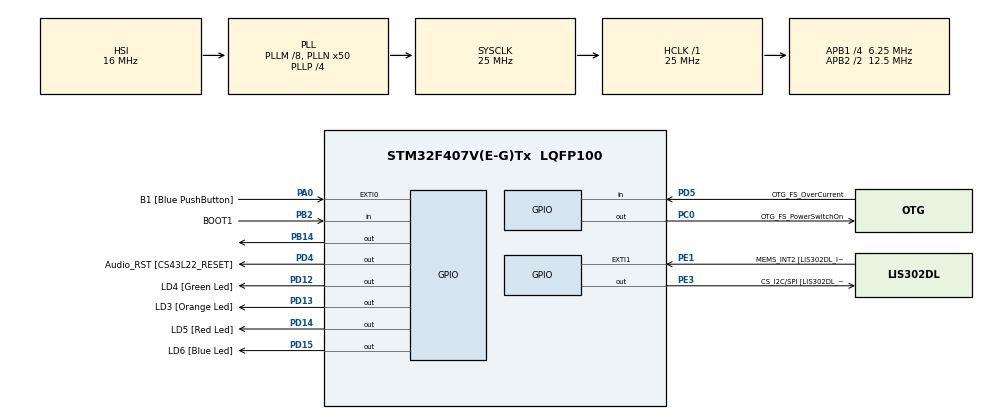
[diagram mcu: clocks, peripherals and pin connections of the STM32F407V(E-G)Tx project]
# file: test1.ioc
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Mcu.Family=STM32F4
Mcu.Name=STM32F407V(E-G)Tx
Mcu.Package=LQFP100
NVIC.PriorityGroup=NVIC_PRIORITYGROUP_0
PA0-WKUP.GPIO_Label=B1 [Blue PushButton]
PA0-WKUP.Signal=GPXTI0
PA10.GPIO_Label=OTG_FS_ID
PA10.GPIO_Mode=GPIO_MODE_AF_PP
PA10.GPIO_PuPd=GPIO_NOPULL
PA10.GPIO_Speed=GPIO_SPEED_FREQ_LOW
PA10.Signal=USB_OTG_FS_ID
PA11.GPIO_Label=OTG_FS_DM
PA11.GPIO_Mode=GPIO_MODE_AF_PP
PA11.GPIO_PuPd=GPIO_NOPULL
PA11.GPIO_Speed=GPIO_SPEED_FREQ_LOW
PA11.Signal=USB_OTG_FS_DM
PA12.GPIO_Label=OTG_FS_DP
PA12.GPIO_Mode=GPIO_MODE_AF_PP
PA12.GPIO_PuPd=GPIO_NOPULL
PA12.GPIO_Speed=GPIO_SPEED_FREQ_LOW
PA12.Signal=USB_OTG_FS_DP
PA13.GPIO_Label=SWDIO
PA13.Signal=SYS_JTMS-SWDIO
PA14.GPIO_Label=SWCLK
PA14.Signal=SYS_JTCK-SWCLK
PA4.GPIO_Label=I2S3_WS [CS43L22_LRCK]
PA4.GPIO_Mode=GPIO_MODE_AF_PP
PA4.GPIO_PuPd=GPIO_NOPULL
PA4.GPIO_Speed=GPIO_SPEED_FREQ_LOW
PA4.Signal=I2S3_WS
PA5.GPIO_Label=SPI1_SCK [LIS302DL_SCL/SPC]
PA5.GPIO_Mode=GPIO_MODE_AF_PP
PA5.GPIO_PuPd=GPIO_NOPULL
PA5.GPIO_Speed=GPIO_SPEED_FREQ_LOW
PA5.Signal=SPI1_SCK
PA6.GPIO_Label=SPI1_MISO [LIS302DL_SDO]
PA6.GPIO_Mode=GPIO_MODE_AF_PP
PA6.GPIO_PuPd=GPIO_NOPULL
PA6.GPIO_Speed=GPIO_SPEED_FREQ_LOW
PA6.Signal=SPI1_MISO
PA7.GPIO_Label=SPI1_MOSI [LIS302DL_SDA/SDI/SDO]
PA7.GPIO_Mode=GPIO_MODE_AF_PP
PA7.GPIO_PuPd=GPIO_NOPULL
PA7.GPIO_Speed=GPIO_SPEED_FREQ_LOW
PA7.Signal=SPI1_MOSI
PA9.GPIO_Label=VBUS_FS
PA9.GPIO_Mode=GPIO_MODE_INPUT
PA9.GPIO_PuPd=GPIO_NOPULL
PA9.Signal=USB_OTG_FS_VBUS
PB10.GPIO_Label=CLK_IN [MP45DT02_CLK]
PB10.GPIO_Mode=GPIO_MODE_AF_PP
PB10.GPIO_PuPd=GPIO_NOPULL
PB10.GPIO_Speed=GPIO_SPEED_FREQ_LOW
PB10.Signal=I2S2_CK
PB14.Signal=GPIO_Output
PB2.GPIO_Label=BOOT1
PB2.GPIO_Mode=GPIO_MODE_INPUT
PB2.GPIO_PuPd=GPIO_NOPULL
PB2.Signal=GPIO_Input
PB3.GPIO_Label=SWO
PB3.Signal=SYS_JTDO-SWO
PB6.GPIO_Label=Audio_SCL [CS43L22_SCL]
PB6.GPIO_Mode=GPIO_MODE_AF_OD
PB6.GPIO_PuPd=GPIO_NOPULL
PB6.GPIO_Speed=GPIO_SPEED_FREQ_LOW
PB6.Signal=I2C1_SCL
PB9.GPIO_Label=Audio_SDA [CS43L22_SDA]
PB9.GPIO_Mode=GPIO_MODE_AF_OD
PB9.GPIO_PuPd=GPIO_NOPULL
PB9.GPIO_Speed=GPIO_SPEED_FREQ_LOW
PB9.Signal=I2C1_SDA
PC0.GPIO_Label=OTG_FS_PowerSwitchOn
PC0.GPIO_PuPd=GPIO_NOPULL
PC0.GPIO_Speed=GPIO_SPEED_FREQ_LOW
PC0.PinState=GPIO_PIN_SET
PC0.Signal=GPIO_Output
PC10.GPIO_Label=I2S3_SCK [CS43L22_SCLK]
PC10.GPIO_Mode=GPIO_MODE_AF_PP
PC10.GPIO_PuPd=GPIO_NOPULL
PC10.GPIO_Speed=GPIO_SPEED_FREQ_LOW
PC10.Signal=I2S3_CK
PC12.GPIO_Label=I2S3_SD [CS43L22_SDIN]
PC12.GPIO_Mode=GPIO_MODE_AF_PP
PC12.GPIO_PuPd=GPIO_NOPULL
PC12.GPIO_Speed=GPIO_SPEED_FREQ_LOW
PC12.Signal=I2S3_SD
PC14-OSC32_IN.GPIO_Label=PC14-OSC32_IN
PC14-OSC32_IN.Signal=RCC_OSC32_IN
PC15-OSC32_OUT.GPIO_Label=PC15-OSC32_OUT
PC15-OSC32_OUT.Signal=RCC_OSC32_OUT
PC3.GPIO_Label=PDM_OUT [MP45DT02_DOUT]
PC3.GPIO_Mode=GPIO_MODE_AF_PP
PC3.GPIO_PuPd=GPIO_NOPULL
PC3.GPIO_Speed=GPIO_SPEED_FREQ_LOW
PC3.Signal=I2S2_SD
PC7.GPIO_Label=I2S3_MCK [CS43L22_MCLK]
PC7.GPIO_Mode=GPIO_MODE_AF_PP
PC7.GPIO_PuPd=GPIO_NOPULL
PC7.GPIO_Speed=GPIO_SPEED_FREQ_LOW
PC7.Signal=I2S3_MCK
PD12.GPIO_Label=LD4 [Green Led]
PD12.GPIO_PuPd=GPIO_NOPULL
PD12.GPIO_Speed=GPIO_SPEED_FREQ_LOW
PD12.Signal=GPIO_Output
PD13.GPIO_Label=LD3 [Orange Led]
PD13.GPIO_PuPd=GPIO_NOPULL
PD13.GPIO_Speed=GPIO_SPEED_FREQ_LOW
PD13.Signal=GPIO_Output
PD14.GPIO_Label=LD5 [Red Led]
PD14.GPIO_PuPd=GPIO_NOPULL
PD14.GPIO_Speed=GPIO_SPEED_FREQ_LOW
PD14.Signal=GPIO_Output
PD15.GPIO_Label=LD6 [Blue Led]
PD15.GPIO_PuPd=GPIO_NOPULL
PD15.GPIO_Speed=GPIO_SPEED_FREQ_LOW
PD15.Signal=GPIO_Output
PD4.GPIO_Label=Audio_RST [CS43L22_RESET]
PD4.GPIO_PuPd=GPIO_NOPULL
PD4.GPIO_Speed=GPIO_SPEED_FREQ_LOW
PD4.Signal=GPIO_Output
PD5.GPIO_Label=OTG_FS_OverCurrent
PD5.GPIO_Mode=GPIO_MODE_INPUT
PD5.GPIO_PuPd=GPIO_NOPULL
PD5.Signal=GPIO_Input
PE1.GPIO_Label=MEMS_INT2 [LIS302DL_INT2]
PE1.GPIO_ModeDefaultEXTI=GPIO_MODE_EVT_RISING
PE1.GPIO_PuPd=GPIO_NOPULL
PE1.Signal=GPXTI1
PE3.GPIO_Label=CS_I2C/SPI [LIS302DL_CS_I2C/SPI]
PE3.GPIO_PuPd=GPIO_NOPULL
PE3.GPIO_Speed=GPIO_SPEED_FREQ_LOW
PE3.Signal=GPIO_Output
PH0-OSC_IN.GPIO_Label=PH0-OSC_IN
PH0-OSC_IN.Signal=RCC_OSC_IN
PH1-OSC_OUT.GPIO_Label=PH1-OSC_OUT
PH1-OSC_OUT.Signal=RCC_OSC_OUT
ProjectManager.HeapSize=0x200
ProjectManager.StackSize=0x400
ProjectManager.TargetToolchain=SW4STM32
RCC.48MHZClocksFreq_Value=14285714.285714285
RCC.AHBFreq_Value=25000000
RCC.APB1CLKDivider=RCC_HCLK_DIV4
RCC.APB1Freq_Value=6250000
RCC.APB1TimFreq_Value=12500000
RCC.APB2CLKDivider=RCC_HCLK_DIV2
RCC.APB2Freq_Value=12500000
RCC.APB2TimFreq_Value=25000000
RCC.CortexFreq_Value=25000000
RCC.HCLKFreq_Value=25000000
RCC.HSE_VALUE=8000000
RCC.HSI_VALUE=16000000
RCC.LSE_VALUE=32768
RCC.PLLM=8
RCC.PLLN=50
RCC.PLLP=RCC_PLLP_DIV4
RCC.PLLQ=7
RCC.SYSCLKFreq_VALUE=25000000
RCC.SYSCLKSource=RCC_SYSCLKSOURCE_PLLCLK
RCC.VCOOutputFreq_Value=100000000
TIM9.Period=1
VP_TIM9_VS_ClockSourceINT.Mode=Internal
board=STM32F4DISCOVERY

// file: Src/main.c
/**
  ******************************************************************************
  * File Name          : main.c
  * Description        : Main program body
  ******************************************************************************
  ** This notice applies to any and all portions of this file
  * that are not between comment pairs USER CODE BEGIN and
  * USER CODE END. Other portions of this file, whether
  * inserted by the user or by software development tools
  * are owned by their respective copyright owners.
  *
  * COPYRIGHT(c) 2560 STMicroelectronics
  *
  * Redistribution and use in source and binary forms, with or without modification,
  * are permitted provided that the following conditions are met:
  *   1. Redistributions of source code must retain the above copyright notice,
  *      this list of conditions and the following disclaimer.
  *   2. Redistributions in binary form must reproduce the above copyright notice,
  *      this list of conditions and the following disclaimer in the documentation
  *      and/or other materials provided with the distribution.
  *   3. Neither the name of STMicroelectronics nor the names of its contributors
  *      may be used to endorse or promote products derived from this software
  *      without specific prior written permission.
  *
  * THIS SOFTWARE IS PROVIDED BY THE COPYRIGHT HOLDERS AND CONTRIBUTORS "AS IS"
  * AND ANY EXPRESS OR IMPLIED WARRANTIES, INCLUDING, BUT NOT LIMITED TO, THE
  * IMPLIED WARRANTIES OF MERCHANTABILITY AND FITNESS FOR A PARTICULAR PURPOSE ARE
  * DISCLAIMED. IN NO EVENT SHALL THE COPYRIGHT HOLDER OR CONTRIBUTORS BE LIABLE
  * FOR ANY DIRECT, INDIRECT, INCIDENTAL, SPECIAL, EXEMPLARY, OR CONSEQUENTIAL
  * DAMAGES (INCLUDING, BUT NOT LIMITED TO, PROCUREMENT OF SUBSTITUTE GOODS OR
  * SERVICES; LOSS OF USE, DATA, OR PROFITS; OR BUSINESS INTERRUPTION) HOWEVER
  * CAUSED AND ON ANY THEORY OF LIABILITY, WHETHER IN CONTRACT, STRICT LIABILITY,
  * OR TORT (INCLUDING NEGLIGENCE OR OTHERWISE) ARISING IN ANY WAY OUT OF THE USE
  * OF THIS SOFTWARE, EVEN IF ADVISED OF THE POSSIBILITY OF SUCH DAMAGE.
  *
  ******************************************************************************
  */
#include "main.h"
#include "stm32f4xx_hal.h"

TIM_HandleTypeDef htim9;

/* USER CODE BEGIN PV */
/* Private variables ---------------------------------------------------------*/

/* USER CODE END PV */

void SystemClock_Config(void);
static void MX_GPIO_Init(void);
static void MX_TIM9_Init(void);

/* USER CODE BEGIN PFP */
/* Private function prototypes -----------------------------------------------*/

/* USER CODE END PFP */

/* USER CODE BEGIN 0 */

int rec;

void updateMCU(){
	HAL_GPIO_WritePin(GPIOB,GPIO_PIN_14, HAL_GPIO_ReadPin(GPIOD,GPIO_PIN_14));
}

void debouncer(){

		HAL_Delay(300);

}

/* USER CODE END 0 */

int main(void)
{

  /* MCU Configuration----------------------------------------------------------*/

  /* Reset of all peripherals, Initializes the Flash interface and the Systick. */
  HAL_Init();

  /* Configure the system clock */
  SystemClock_Config();

  /* Initialize all configured peripherals */
  MX_GPIO_Init();
  MX_TIM9_Init();

  /* USER CODE BEGIN 2 */

  HAL_GPIO_WritePin(GPIOD,GPIO_PIN_14,1);
  updateMCU();
  /* USER CODE END 2 */

  /* Infinite loop */
  /* USER CODE BEGIN WHILE */
  while (1)
  {

	 if(HAL_GPIO_ReadPin(GPIOA,GPIO_PIN_0)){
	 	 		  	 debouncer();
	 	 		  	 HAL_GPIO_TogglePin(GPIOD,GPIO_PIN_14);
	 	 		  	 rec = HAL_GPIO_ReadPin(GPIOD,GPIO_PIN_14);
	 	 		  	 updateMCU();
	 	 		  	 HAL_Delay(2500);
	 	  }

	 else if(rec!=HAL_GPIO_ReadPin(GPIOB,GPIO_PIN_12)){
		  HAL_GPIO_TogglePin(GPIOD,GPIO_PIN_14);
		  rec = HAL_GPIO_ReadPin(GPIOD,GPIO_PIN_14);
		  HAL_Delay(2500);
	  }

	  /*
	  if(isLightON==1){
	  			HAL_GPIO_WritePin(GPIOD, GPIO_PIN_14,1);
	  		}
	  		else{
	  			HAL_GPIO_WritePin(GPIOD, GPIO_PIN_14,0);
	  		}
	  		updateMCU();
	  		toggleLight();
	  		*/

  /* USER CODE END WHILE */

  }

}

/** System Clock Configuration
*/
void SystemClock_Config(void)
{

  RCC_OscInitTypeDef RCC_OscInitStruct;
  RCC_ClkInitTypeDef RCC_ClkInitStruct;

    /**Configure the main internal regulator output voltage
    */
  __HAL_RCC_PWR_CLK_ENABLE();

  __HAL_PWR_VOLTAGESCALING_CONFIG(PWR_REGULATOR_VOLTAGE_SCALE1);

    /**Initializes the CPU, AHB and APB busses clocks
    */
  RCC_OscInitStruct.OscillatorType = RCC_OSCILLATORTYPE_HSI;
  RCC_OscInitStruct.HSIState = RCC_HSI_ON;
  RCC_OscInitStruct.HSICalibrationValue = 16;
  RCC_OscInitStruct.PLL.PLLState = RCC_PLL_ON;
  RCC_OscInitStruct.PLL.PLLSource = RCC_PLLSOURCE_HSI;
  RCC_OscInitStruct.PLL.PLLM = 8;
  RCC_OscInitStruct.PLL.PLLN = 50;
  RCC_OscInitStruct.PLL.PLLP = RCC_PLLP_DIV4;
  RCC_OscInitStruct.PLL.PLLQ = 7;
  if (HAL_RCC_OscConfig(&RCC_OscInitStruct) != HAL_OK)
  {
    _Error_Handler(__FILE__, __LINE__);
  }

    /**Initializes the CPU, AHB and APB busses clocks
    */
  RCC_ClkInitStruct.ClockType = RCC_CLOCKTYPE_HCLK|RCC_CLOCKTYPE_SYSCLK
                              |RCC_CLOCKTYPE_PCLK1|RCC_CLOCKTYPE_PCLK2;
  RCC_ClkInitStruct.SYSCLKSource = RCC_SYSCLKSOURCE_PLLCLK;
  RCC_ClkInitStruct.AHBCLKDivider = RCC_SYSCLK_DIV1;
  RCC_ClkInitStruct.APB1CLKDivider = RCC_HCLK_DIV4;
  RCC_ClkInitStruct.APB2CLKDivider = RCC_HCLK_DIV2;

  if (HAL_RCC_ClockConfig(&RCC_ClkInitStruct, FLASH_LATENCY_0) != HAL_OK)
  {
    _Error_Handler(__FILE__, __LINE__);
  }

    /**Configure the Systick interrupt time
    */
  HAL_SYSTICK_Config(HAL_RCC_GetHCLKFreq()/1000);

    /**Configure the Systick
    */
  HAL_SYSTICK_CLKSourceConfig(SYSTICK_CLKSOURCE_HCLK);

  /* SysTick_IRQn interrupt configuration */
  HAL_NVIC_SetPriority(SysTick_IRQn, 0, 0);
}

/* TIM9 init function */
static void MX_TIM9_Init(void)
{

  TIM_ClockConfigTypeDef sClockSourceConfig;

  htim9.Instance = TIM9;
  htim9.Init.Prescaler = 0;
  htim9.Init.CounterMode = TIM_COUNTERMODE_UP;
  htim9.Init.Period = 1;
  htim9.Init.ClockDivision = TIM_CLOCKDIVISION_DIV1;
  if (HAL_TIM_Base_Init(&htim9) != HAL_OK)
  {
    _Error_Handler(__FILE__, __LINE__);
  }

  sClockSourceConfig.ClockSource = TIM_CLOCKSOURCE_INTERNAL;
  if (HAL_TIM_ConfigClockSource(&htim9, &sClockSourceConfig) != HAL_OK)
  {
    _Error_Handler(__FILE__, __LINE__);
  }

}

/** Configure pins as
        * Analog
        * Input
        * Output
        * EVENT_OUT
        * EXTI
     PC3   ------> I2S2_SD
     PA4   ------> I2S3_WS
     PA5   ------> SPI1_SCK
     PA6   ------> SPI1_MISO
     PA7   ------> SPI1_MOSI
     PB10   ------> I2S2_CK
     PC7   ------> I2S3_MCK
     PA9   ------> USB_OTG_FS_VBUS
     PA10   ------> USB_OTG_FS_ID
     PA11   ------> USB_OTG_FS_DM
     PA12   ------> USB_OTG_FS_DP
     PC10   ------> I2S3_CK
     PC12   ------> I2S3_SD
     PB6   ------> I2C1_SCL
     PB9   ------> I2C1_SDA
*/
static void MX_GPIO_Init(void)
{

  GPIO_InitTypeDef GPIO_InitStruct;

  /* GPIO Ports Clock Enable */
  __HAL_RCC_GPIOE_CLK_ENABLE();
  __HAL_RCC_GPIOC_CLK_ENABLE();
  __HAL_RCC_GPIOH_CLK_ENABLE();
  __HAL_RCC_GPIOA_CLK_ENABLE();
  __HAL_RCC_GPIOB_CLK_ENABLE();
  __HAL_RCC_GPIOD_CLK_ENABLE();

  /*Configure GPIO pin Output Level */
  HAL_GPIO_WritePin(CS_I2C_SPI_GPIO_Port, CS_I2C_SPI_Pin, GPIO_PIN_RESET);

  /*Configure GPIO pin Output Level */
  HAL_GPIO_WritePin(OTG_FS_PowerSwitchOn_GPIO_Port, OTG_FS_PowerSwitchOn_Pin, GPIO_PIN_SET);

  /*Configure GPIO pin Output Level */
  HAL_GPIO_WritePin(GPIOB, GPIO_PIN_14, GPIO_PIN_RESET);

  /*Configure GPIO pin Output Level */
  HAL_GPIO_WritePin(GPIOD, LD4_Pin|LD3_Pin|LD5_Pin|LD6_Pin
                          |Audio_RST_Pin, GPIO_PIN_RESET);

  /*Configure GPIO pin : CS_I2C_SPI_Pin */
  GPIO_InitStruct.Pin = CS_I2C_SPI_Pin;
  GPIO_InitStruct.Mode = GPIO_MODE_OUTPUT_PP;
  GPIO_InitStruct.Pull = GPIO_NOPULL;
  GPIO_InitStruct.Speed = GPIO_SPEED_FREQ_LOW;
  HAL_GPIO_Init(CS_I2C_SPI_GPIO_Port, &GPIO_InitStruct);

  /*Configure GPIO pin : OTG_FS_PowerSwitchOn_Pin */
  GPIO_InitStruct.Pin = OTG_FS_PowerSwitchOn_Pin;
  GPIO_InitStruct.Mode = GPIO_MODE_OUTPUT_PP;
  GPIO_InitStruct.Pull = GPIO_NOPULL;
  GPIO_InitStruct.Speed = GPIO_SPEED_FREQ_LOW;
  HAL_GPIO_Init(OTG_FS_PowerSwitchOn_GPIO_Port, &GPIO_InitStruct);

  /*Configure GPIO pin : PDM_OUT_Pin */
  GPIO_InitStruct.Pin = PDM_OUT_Pin;
  GPIO_InitStruct.Mode = GPIO_MODE_AF_PP;
  GPIO_InitStruct.Pull = GPIO_NOPULL;
  GPIO_InitStruct.Speed = GPIO_SPEED_FREQ_LOW;
  GPIO_InitStruct.Alternate = GPIO_AF5_SPI2;
  HAL_GPIO_Init(PDM_OUT_GPIO_Port, &GPIO_InitStruct);

  /*Configure GPIO pin : B1_Pin */
  GPIO_InitStruct.Pin = B1_Pin;
  GPIO_InitStruct.Mode = GPIO_MODE_IT_RISING;
  GPIO_InitStruct.Pull = GPIO_NOPULL;
  HAL_GPIO_Init(B1_GPIO_Port, &GPIO_InitStruct);

  /*Configure GPIO pin : I2S3_WS_Pin */
  GPIO_InitStruct.Pin = I2S3_WS_Pin;
  GPIO_InitStruct.Mode = GPIO_MODE_AF_PP;
  GPIO_InitStruct.Pull = GPIO_NOPULL;
  GPIO_InitStruct.Speed = GPIO_SPEED_FREQ_LOW;
  GPIO_InitStruct.Alternate = GPIO_AF6_SPI3;
  HAL_GPIO_Init(I2S3_WS_GPIO_Port, &GPIO_InitStruct);

  /*Configure GPIO pins : SPI1_SCK_Pin SPI1_MISO_Pin SPI1_MOSI_Pin */
  GPIO_InitStruct.Pin = SPI1_SCK_Pin|SPI1_MISO_Pin|SPI1_MOSI_Pin;
  GPIO_InitStruct.Mode = GPIO_MODE_AF_PP;
  GPIO_InitStruct.Pull = GPIO_NOPULL;
  GPIO_InitStruct.Speed = GPIO_SPEED_FREQ_LOW;
  GPIO_InitStruct.Alternate = GPIO_AF5_SPI1;
  HAL_GPIO_Init(GPIOA, &GPIO_InitStruct);

  /*Configure GPIO pin : BOOT1_Pin */
  GPIO_InitStruct.Pin = BOOT1_Pin;
  GPIO_InitStruct.Mode = GPIO_MODE_INPUT;
  GPIO_InitStruct.Pull = GPIO_NOPULL;
  HAL_GPIO_Init(BOOT1_GPIO_Port, &GPIO_InitStruct);

  /*Configure GPIO pin : CLK_IN_Pin */
  GPIO_InitStruct.Pin = CLK_IN_Pin;
  GPIO_InitStruct.Mode = GPIO_MODE_AF_PP;
  GPIO_InitStruct.Pull = GPIO_NOPULL;
  GPIO_InitStruct.Speed = GPIO_SPEED_FREQ_LOW;
  GPIO_InitStruct.Alternate = GPIO_AF5_SPI2;
  HAL_GPIO_Init(CLK_IN_GPIO_Port, &GPIO_InitStruct);

  /*Configure GPIO pin : PB14 */
  GPIO_InitStruct.Pin = GPIO_PIN_14;
  GPIO_InitStruct.Mode = GPIO_MODE_OUTPUT_PP;
  GPIO_InitStruct.Pull = GPIO_NOPULL;
  GPIO_InitStruct.Speed = GPIO_SPEED_FREQ_LOW;
  HAL_GPIO_Init(GPIOB, &GPIO_InitStruct);

  /*Configure GPIO pins : LD4_Pin LD3_Pin LD5_Pin LD6_Pin
                           Audio_RST_Pin */
  GPIO_InitStruct.Pin = LD4_Pin|LD3_Pin|LD5_Pin|LD6_Pin
                          |Audio_RST_Pin;
  GPIO_InitStruct.Mode = GPIO_MODE_OUTPUT_PP;
  GPIO_InitStruct.Pull = GPIO_NOPULL;
  GPIO_InitStruct.Speed = GPIO_SPEED_FREQ_LOW;
  HAL_GPIO_Init(GPIOD, &GPIO_InitStruct);

  /*Configure GPIO pins : I2S3_MCK_Pin I2S3_SCK_Pin I2S3_SD_Pin */
  GPIO_InitStruct.Pin = I2S3_MCK_Pin|I2S3_SCK_Pin|I2S3_SD_Pin;
  GPIO_InitStruct.Mode = GPIO_MODE_AF_PP;
  GPIO_InitStruct.Pull = GPIO_NOPULL;
  GPIO_InitStruct.Speed = GPIO_SPEED_FREQ_LOW;
  GPIO_InitStruct.Alternate = GPIO_AF6_SPI3;
  HAL_GPIO_Init(GPIOC, &GPIO_InitStruct);

  /*Configure GPIO pin : VBUS_FS_Pin */
  GPIO_InitStruct.Pin = VBUS_FS_Pin;
  GPIO_InitStruct.Mode = GPIO_MODE_INPUT;
  GPIO_InitStruct.Pull = GPIO_NOPULL;
  HAL_GPIO_Init(VBUS_FS_GPIO_Port, &GPIO_InitStruct);

  /*Configure GPIO pins : OTG_FS_ID_Pin OTG_FS_DM_Pin OTG_FS_DP_Pin */
  GPIO_InitStruct.Pin = OTG_FS_ID_Pin|OTG_FS_DM_Pin|OTG_FS_DP_Pin;
  GPIO_InitStruct.Mode = GPIO_MODE_AF_PP;
  GPIO_InitStruct.Pull = GPIO_NOPULL;
  GPIO_InitStruct.Speed = GPIO_SPEED_FREQ_LOW;
  GPIO_InitStruct.Alternate = GPIO_AF10_OTG_FS;
  HAL_GPIO_Init(GPIOA, &GPIO_InitStruct);

  /*Configure GPIO pin : OTG_FS_OverCurrent_Pin */
  GPIO_InitStruct.Pin = OTG_FS_OverCurrent_Pin;
  GPIO_InitStruct.Mode = GPIO_MODE_INPUT;
  GPIO_InitStruct.Pull = GPIO_NOPULL;
  HAL_GPIO_Init(OTG_FS_OverCurrent_GPIO_Port, &GPIO_InitStruct);

  /*Configure GPIO pins : Audio_SCL_Pin Audio_SDA_Pin */
  GPIO_InitStruct.Pin = Audio_SCL_Pin|Audio_SDA_Pin;
  GPIO_InitStruct.Mode = GPIO_MODE_AF_OD;
  GPIO_InitStruct.Pull = GPIO_PULLUP;
  GPIO_InitStruct.Speed = GPIO_SPEED_FREQ_LOW;
  GPIO_InitStruct.Alternate = GPIO_AF4_I2C1;
  HAL_GPIO_Init(GPIOB, &GPIO_InitStruct);

  /*Configure GPIO pin : MEMS_INT2_Pin */
  GPIO_InitStruct.Pin = MEMS_INT2_Pin;
  GPIO_InitStruct.Mode = GPIO_MODE_EVT_RISING;
  GPIO_InitStruct.Pull = GPIO_NOPULL;
  HAL_GPIO_Init(MEMS_INT2_GPIO_Port, &GPIO_InitStruct);

}

void _Error_Handler(char * file, int line)
{
  while(1)
  {
  }
}

/************************ (C) COPYRIGHT STMicroelectronics *****END OF FILE****/
